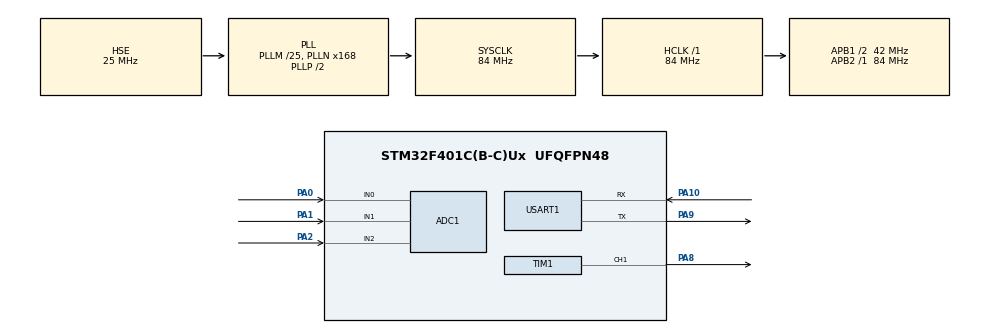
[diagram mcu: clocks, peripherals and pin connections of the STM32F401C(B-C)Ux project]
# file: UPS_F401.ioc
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ADC1.Channel-0\#ChannelRegularConversion=ADC_CHANNEL_0
ADC1.Channel-1\#ChannelRegularConversion=ADC_CHANNEL_1
ADC1.Channel-2\#ChannelRegularConversion=ADC_CHANNEL_2
ADC1.ContinuousConvMode=ENABLE
ADC1.DMAContinuousRequests=ENABLE
ADC1.NbrOfConversion=3
ADC1.NbrOfConversionFlag=1
ADC1.Rank-0\#ChannelRegularConversion=1
ADC1.Rank-1\#ChannelRegularConversion=2
ADC1.Rank-2\#ChannelRegularConversion=3
ADC1.SamplingTime-0\#ChannelRegularConversion=ADC_SAMPLETIME_3CYCLES
ADC1.SamplingTime-1\#ChannelRegularConversion=ADC_SAMPLETIME_3CYCLES
ADC1.SamplingTime-2\#ChannelRegularConversion=ADC_SAMPLETIME_3CYCLES
ADC1.ScanConvMode=ENABLE
ADC1.master=1
Dma.ADC1.0.Direction=DMA_PERIPH_TO_MEMORY
Dma.ADC1.0.FIFOMode=DMA_FIFOMODE_DISABLE
Dma.ADC1.0.Instance=DMA2_Stream0
Dma.ADC1.0.MemDataAlignment=DMA_MDATAALIGN_HALFWORD
Dma.ADC1.0.MemInc=DMA_MINC_ENABLE
Dma.ADC1.0.Mode=DMA_CIRCULAR
Dma.ADC1.0.PeriphDataAlignment=DMA_PDATAALIGN_HALFWORD
Dma.ADC1.0.PeriphInc=DMA_PINC_DISABLE
Dma.ADC1.0.Priority=DMA_PRIORITY_LOW
Dma.Request0=ADC1
Mcu.Family=STM32F4
Mcu.Name=STM32F401C(B-C)Ux
Mcu.Package=UFQFPN48
NVIC.DMA2_Stream0_IRQn=true\:0\:0\:false\:false\:true\:false\:true\:true
NVIC.PriorityGroup=NVIC_PRIORITYGROUP_4
PA0-WKUP.Signal=ADCx_IN0
PA1.Signal=ADCx_IN1
PA10.Mode=Asynchronous
PA10.Signal=USART1_RX
PA2.Signal=ADCx_IN2
PA8.Signal=S_TIM1_CH1
PA9.Mode=Asynchronous
PA9.Signal=USART1_TX
PH0\ -\ OSC_IN.Mode=HSE-External-Oscillator
PH0\ -\ OSC_IN.Signal=RCC_OSC_IN
PH1\ -\ OSC_OUT.Mode=HSE-External-Oscillator
PH1\ -\ OSC_OUT.Signal=RCC_OSC_OUT
ProjectManager.HeapSize=0x200
ProjectManager.StackSize=0x400
ProjectManager.TargetToolchain=MDK-ARM V5.32
RCC.48MHZClocksFreq_Value=42000000
RCC.AHBFreq_Value=84000000
RCC.APB1CLKDivider=RCC_HCLK_DIV2
RCC.APB1Freq_Value=42000000
RCC.APB1TimFreq_Value=84000000
RCC.APB2Freq_Value=84000000
RCC.APB2TimFreq_Value=84000000
RCC.CortexFreq_Value=84000000
RCC.HCLKFreq_Value=84000000
RCC.HSE_VALUE=25000000
RCC.HSI_VALUE=16000000
RCC.LSE_VALUE=32768
RCC.PLLM=25
RCC.PLLN=168
RCC.PLLSourceVirtual=RCC_PLLSOURCE_HSE
RCC.SYSCLKFreq_VALUE=84000000
RCC.SYSCLKSource=RCC_SYSCLKSOURCE_PLLCLK
RCC.VCOOutputFreq_Value=168000000
SH.ADCx_IN0.0=ADC1_IN0,IN0
SH.ADCx_IN1.0=ADC1_IN1,IN1
SH.ADCx_IN2.0=ADC1_IN2,IN2
SH.S_TIM1_CH1.0=TIM1_CH1,PWM Generation1 CH1
TIM1.AutoReloadPreload=TIM_AUTORELOAD_PRELOAD_ENABLE
TIM1.Channel-PWM\ Generation1\ CH1=TIM_CHANNEL_1
TIM1.Period=399
TIM1.Prescaler=20
TIM1.Pulse-PWM\ Generation1\ CH1=120
USART1.VirtualMode=VM_ASYNC
VP_TIM1_VS_ClockSourceINT.Mode=Internal
board=custom

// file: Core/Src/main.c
/* USER CODE BEGIN Header */
/**
  ******************************************************************************
  * @file           : main.c
  * @brief          : Main program body
  ******************************************************************************
  * @attention
  *
  * Copyright (c) 2023 STMicroelectronics.
  * All rights reserved.
  *
  * This software is licensed under terms that can be found in the LICENSE file
  * in the root directory of this software component.
  * If no LICENSE file comes with this software, it is provided AS-IS.
  *
  ******************************************************************************
  */
/* USER CODE END Header */
#include "main.h"
#include "adc.h"
#include "dma.h"
#include "tim.h"
#include "usart.h"
#include "gpio.h"

/* USER CODE BEGIN Includes */
#include <stdio.h>
/* USER CODE END Includes */

/* USER CODE BEGIN PTD */
/**
  * 函数功能: 重定向c库函数printf到DEBUG_USARTx
  * 输入参数: �?
  * �? �? �?: �?
  * �?    明：�?
  */
int fputc(int ch, FILE *f)
{
  HAL_UART_Transmit(&huart1, (uint8_t *)&ch, 1, 0xffff);
  return ch;
}

/**
  * 函数功能: 重定向c库函数getchar,scanf到DEBUG_USARTx
  * 输入参数: �?
  * �? �? �?: �?
  * �?    明：�?
  */
int fgetc(FILE *f)
{
  uint8_t ch = 0;
  HAL_UART_Receive(&huart1, &ch, 1, 0xffff);
  return ch;
}
/* USER CODE END PTD */

/* USER CODE BEGIN PV */
uint16_t ADC_Value[DMAlenth];
uint32_t adC, adV, adIN;
uint16_t i;
uint16_t pulse = 0;
uint8_t mode = 2;
/*====================================================================================================
PID Function
The PID (比例、积分�?�微�?) function is used in mainly
control applications. PIDCalc performs one iteration of the PID
algorithm.
While the PID function works, main is just a dummy program showing
a typical usage.
=====================================================================================================*/
typedef struct PID
{
	double SetPoint;                                  //设定目标 Desired Value
	double SumError;                                  //误差累计
	double Proportion;                                //比例常数 Proportional Const
	double Integral;                                  //积分常数 Integral Const
	double Derivative;                                //微分常数 Derivative Const
	double LastError;                                 //Error[-1]
	double PrevError;                                 //Error[-2]
} PID;
static PID sPID;
static PID *sptr = &sPID;
/* USER CODE END PV */

void SystemClock_Config(void);

/* USER CODE BEGIN 0 */
void IncPIDInit20(void)
{
	sptr->SumError = 0;
	sptr->LastError = 0;                            // Error[-1]
	sptr->PrevError = 0;                            // Error[-2]
	sptr->Proportion = 0.012;                           // 比例常数 Proportional Const
	sptr->Integral = 0.0;                           // 积分常数Integral Const
	sptr->Derivative = 0.00001;                       // 微分常数 Derivative Const
	sptr->SetPoint = 328;
}

void IncPIDInit200(void)
{
	sptr->SumError = 0;
	sptr->LastError = 0;                            // Error[-1]
	sptr->PrevError = 0;                            // Error[-2]
	sptr->Proportion = 0.05;                           // 比例常数 Proportional Const
	sptr->Integral = 0.0;                           // 积分常数Integral Const
	sptr->Derivative = 0.0008;                       // 微分常数 Derivative Const
	sptr->SetPoint = 2630;
}

void IncPIDInitV(void)
{
	sptr->SumError = 0;
	sptr->LastError = 0;                            // Error[-1]
	sptr->PrevError = 0;                            // Error[-2]
	sptr->Proportion = 0.05;                           // 比例常数 Proportional Const
	sptr->Integral = 0.0;                           // 积分常数Integral Const
	sptr->Derivative = 0.001;                       // 微分常数 Derivative Const
	sptr->SetPoint = 3081;
}
double IncPIDCalc(double NextPoint)
{
    register double iError, iIncpid;                //当前误差
    iError = sptr->SetPoint - NextPoint;            //增量计算
    iIncpid = sptr->Proportion * iError             //E[k]�?
        - sptr->Integral * sptr->LastError          //E[k�?1]�?
            + sptr->Derivative * sptr->PrevError;   //E[k�?2]�?
    //存储误差，用于下次计�?
    sptr->PrevError = sptr->LastError;
    sptr->LastError = iError;
    //返回增量�?
    return(iIncpid);
}
/* USER CODE END 0 */

int main(void)
{

  /* MCU Configuration--------------------------------------------------------*/

  /* Reset of all peripherals, Initializes the Flash interface and the Systick. */
  HAL_Init();

  /* Configure the system clock */
  SystemClock_Config();

  /* Initialize all configured peripherals */
  MX_GPIO_Init();
  MX_DMA_Init();
  MX_ADC1_Init();
  MX_TIM1_Init();
  MX_USART1_UART_Init();
  /* USER CODE BEGIN 2 */
  IncPIDInit20();
  HAL_ADC_Start_DMA(&hadc1, (uint32_t*)ADC_Value, DMAlenth);
  HAL_TIM_PWM_Start(&htim1,TIM_CHANNEL_1);

  /* USER CODE END 2 */

  /* Infinite loop */
  while (1)
  {

    /* USER CODE BEGIN 3 */
    if (0)
    {
      IncPIDInitV;
      mode = 2;
    }
    if (0)
    {
      IncPIDInit200;
      mode = 1;
    }
    if (0)
    {
      IncPIDInit20;
      mode = 0;
    }
    switch (mode)
    {
    case 0:
      {
        TIM1->CCR1 = IncPIDCalc(adC);

        break;
      }
      case 1:
      {
        TIM1->CCR1 = IncPIDCalc(adC);
        break;
      }

    default:
      break;
    }
  }
  /* USER CODE END 3 */
}

void SystemClock_Config(void)
{
  RCC_OscInitTypeDef RCC_OscInitStruct = {0};
  RCC_ClkInitTypeDef RCC_ClkInitStruct = {0};

  /** Configure the main internal regulator output voltage
  */
  __HAL_RCC_PWR_CLK_ENABLE();
  __HAL_PWR_VOLTAGESCALING_CONFIG(PWR_REGULATOR_VOLTAGE_SCALE2);

  /** Initializes the RCC Oscillators according to the specified parameters
  * in the RCC_OscInitTypeDef structure.
  */
  RCC_OscInitStruct.OscillatorType = RCC_OSCILLATORTYPE_HSE;
  RCC_OscInitStruct.HSEState = RCC_HSE_ON;
  RCC_OscInitStruct.PLL.PLLState = RCC_PLL_ON;
  RCC_OscInitStruct.PLL.PLLSource = RCC_PLLSOURCE_HSE;
  RCC_OscInitStruct.PLL.PLLM = 25;
  RCC_OscInitStruct.PLL.PLLN = 168;
  RCC_OscInitStruct.PLL.PLLP = RCC_PLLP_DIV2;
  RCC_OscInitStruct.PLL.PLLQ = 4;
  if (HAL_RCC_OscConfig(&RCC_OscInitStruct) != HAL_OK)
  {
    Error_Handler();
  }

  /** Initializes the CPU, AHB and APB buses clocks
  */
  RCC_ClkInitStruct.ClockType = RCC_CLOCKTYPE_HCLK|RCC_CLOCKTYPE_SYSCLK
                              |RCC_CLOCKTYPE_PCLK1|RCC_CLOCKTYPE_PCLK2;
  RCC_ClkInitStruct.SYSCLKSource = RCC_SYSCLKSOURCE_PLLCLK;
  RCC_ClkInitStruct.AHBCLKDivider = RCC_SYSCLK_DIV1;
  RCC_ClkInitStruct.APB1CLKDivider = RCC_HCLK_DIV2;
  RCC_ClkInitStruct.APB2CLKDivider = RCC_HCLK_DIV1;

  if (HAL_RCC_ClockConfig(&RCC_ClkInitStruct, FLASH_LATENCY_2) != HAL_OK)
  {
    Error_Handler();
  }
}

void Error_Handler(void)
{
  __disable_irq();
  while (1)
  {
  }
}
